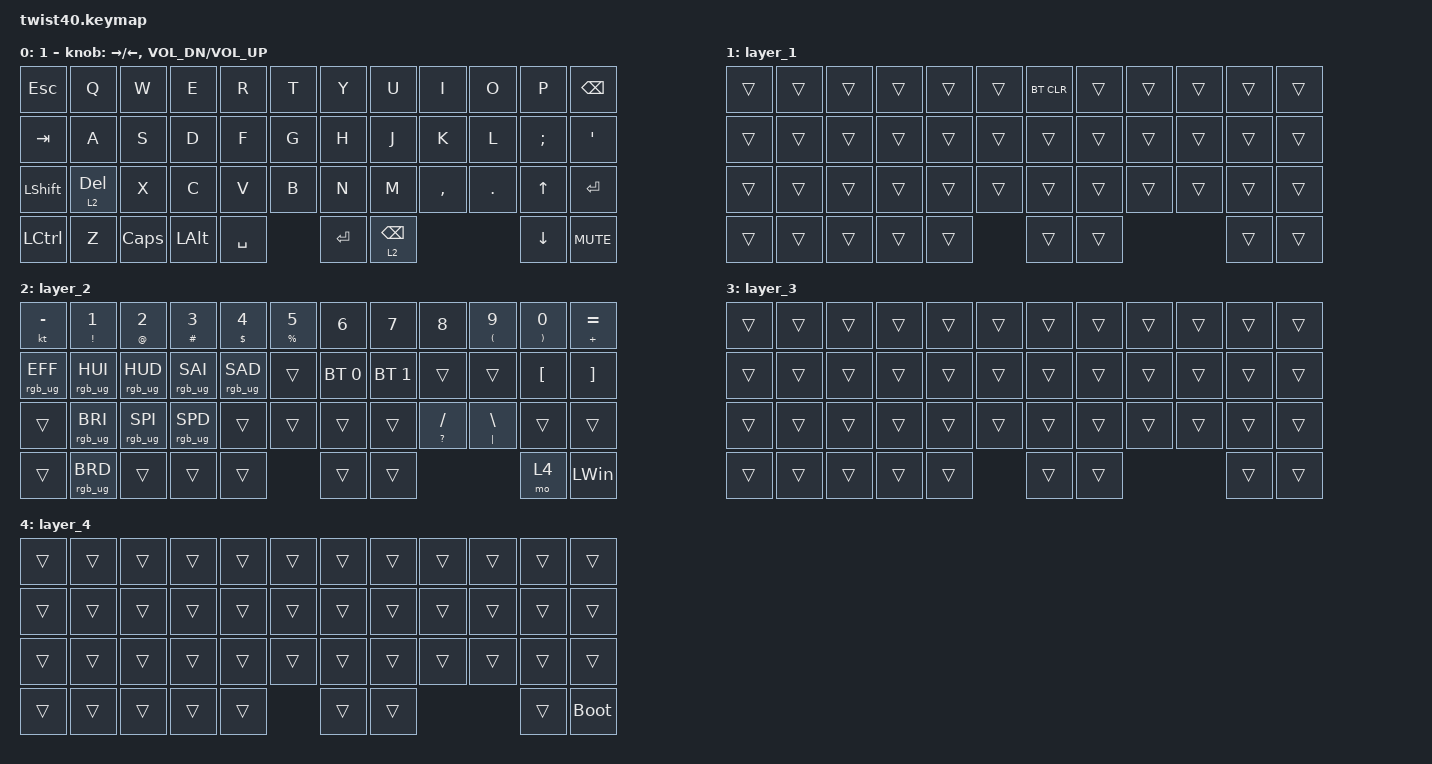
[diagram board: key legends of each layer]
/*
 * Copyright (c) 2022 The ZMK Contributors
 *
 * SPDX-License-Identifier: MIT
 */

#include <behaviors.dtsi>
#include <dt-bindings/zmk/bt.h>
#include <dt-bindings/zmk/keys.h>
#include <dt-bindings/zmk/keys.h>
#include <dt-bindings/zmk/rgb.h>

/ {
    keymap {
        compatible = "zmk,keymap";

        default_layer {
            label = "DEFAULT";
            bindings = <
&kp ESC    &kp Q         &kp W     &kp E     &kp R      &kp T  &kp Y      &kp U            &kp I      &kp O       &kp P           &kp BSPC
&kp TAB    &kp A         &kp S     &kp D     &kp F      &kp G  &kp H      &kp J            &kp K      &kp L       &kp SEMI        &kp SQT
&kp LSHFT  &lt 2 DELETE  &kp X     &kp C     &kp V      &kp B  &kp N      &kp M            &kp COMMA  &kp PERIOD  &kp UP_ARROW    &kp ENTER
&kp LCTRL  &kp Z         &kp CLCK  &kp LALT  &kp SPACE         &kp ENTER  &lt 2 BACKSPACE                         &kp DOWN_ARROW  &kp C_MUTE
            >;

            sensor-bindings =
                <&inc_dec_kp RIGHT LEFT>,
                <&inc_dec_kp C_VOL_DN C_VOL_UP>;

            label = "1";
        };

        layer_1 {
            bindings = <
&trans  &trans  &trans  &trans  &trans  &trans  &bt BT_CLR  &trans  &trans  &trans  &trans  &trans
&trans  &trans  &trans  &trans  &trans  &trans  &trans      &trans  &trans  &trans  &trans  &trans
&trans  &trans  &trans  &trans  &trans  &trans  &trans      &trans  &trans  &trans  &trans  &trans
&trans  &trans  &trans  &trans  &trans          &trans      &trans                  &trans  &trans
            >;
        };

        layer_2 {
            bindings = <
&kt MINUS        &mt EXCLAMATION N1  &mt AT_SIGN N2   &mt POUND N3     &mt DOLLAR N4    &mt PERCENT N5  &kp N6        &kp N7        &kp N8              &mt LEFT_PARENTHESIS N9  &mt RIGHT_PARENTHESIS N0  &mt PLUS EQUAL
&rgb_ug RGB_EFF  &rgb_ug RGB_HUI     &rgb_ug RGB_HUD  &rgb_ug RGB_SAI  &rgb_ug RGB_SAD  &trans          &bt BT_SEL 0  &bt BT_SEL 1  &trans              &trans                   &kp LEFT_BRACKET          &kp RBKT
&trans           &rgb_ug RGB_BRI     &rgb_ug RGB_SPI  &rgb_ug RGB_SPD  &trans           &trans          &trans        &trans        &mt QUESTION SLASH  &mt PIPE BACKSLASH       &trans                    &trans
&trans           &rgb_ug RGB_BRD     &trans           &trans           &trans                           &trans        &trans                                                     &mo 4                     &kp LEFT_WIN
            >;
        };

        layer_3 {
            bindings = <
&trans  &trans  &trans  &trans  &trans  &trans  &trans  &trans  &trans  &trans  &trans  &trans
&trans  &trans  &trans  &trans  &trans  &trans  &trans  &trans  &trans  &trans  &trans  &trans
&trans  &trans  &trans  &trans  &trans  &trans  &trans  &trans  &trans  &trans  &trans  &trans
&trans  &trans  &trans  &trans  &trans          &trans  &trans                  &trans  &trans
            >;
        };

        layer_4 {
            bindings = <
&trans  &trans  &trans  &trans  &trans  &trans  &trans  &trans  &trans  &trans  &trans  &trans
&trans  &trans  &trans  &trans  &trans  &trans  &trans  &trans  &trans  &trans  &trans  &trans
&trans  &trans  &trans  &trans  &trans  &trans  &trans  &trans  &trans  &trans  &trans  &trans
&trans  &trans  &trans  &trans  &trans          &trans  &trans                  &trans  &bootloader
            >;
        };
    };
};
